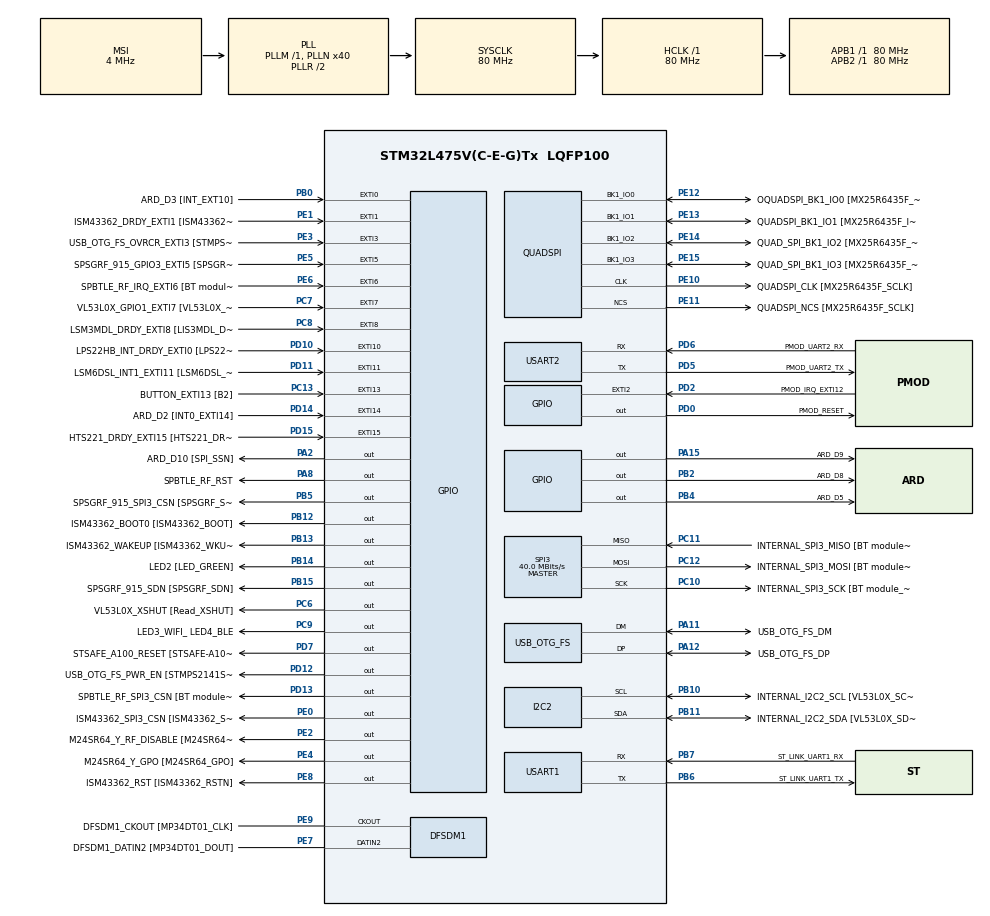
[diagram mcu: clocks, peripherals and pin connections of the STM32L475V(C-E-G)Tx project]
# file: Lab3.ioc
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FREERTOS.Tasks01=defaultTask,24,128,StartDefaultTask,Default,NULL,Dynamic,NULL,NULL
FREERTOS.configUSE_PREEMPTION=1
Mcu.Family=STM32L4
Mcu.Name=STM32L475V(C-E-G)Tx
Mcu.Package=LQFP100
NVIC.EXTI15_10_IRQn=true\:5\:0\:false\:false\:true\:true\:true\:true\:true
NVIC.EXTI9_5_IRQn=true\:5\:0\:false\:false\:true\:true\:true\:true\:true
NVIC.PriorityGroup=NVIC_PRIORITYGROUP_4
NVIC.TIM6_DAC_IRQn=true\:15\:0\:false\:false\:true\:false\:false\:true\:true
NVIC.TimeBase=TIM6_DAC_IRQn
NVIC.TimeBaseIP=TIM6
PA0.GPIO_Label=ARD_D1 [UART4_TX]
PA0.Signal=UART4_TX
PA1.GPIO_Label=ARD_D0 [UART4_RX]
PA1.Signal=UART4_RX
PA10.GPIO_Label=USB_OTG_FS_ID
PA10.Signal=USB_OTG_FS_ID
PA11.GPIO_Label=USB_OTG_FS_DM
PA11.Mode=Device_Only
PA11.Signal=USB_OTG_FS_DM
PA12.GPIO_Label=USB_OTG_FS_DP
PA12.Mode=Device_Only
PA12.Signal=USB_OTG_FS_DP
PA13\ (JTMS-SWDIO).GPIO_Label=SYS_JTMS_SWDIO
PA13\ (JTMS-SWDIO).Mode=Trace_Asynchronous_SW
PA13\ (JTMS-SWDIO).Signal=SYS_JTMS-SWDIO
PA14\ (JTCK-SWCLK).GPIO_Label=SYS_JTCK_SWCLK
PA14\ (JTCK-SWCLK).Mode=Trace_Asynchronous_SW
PA14\ (JTCK-SWCLK).Signal=SYS_JTCK-SWCLK
PA15\ (JTDI).GPIO_Label=ARD_D9
PA15\ (JTDI).Signal=GPIO_Output
PA2.GPIO_Label=ARD_D10 [SPI_SSN]
PA2.Signal=GPIO_Output
PA3.GPIO_Label=ARD_D4
PA3.Signal=S_TIM2_CH4
PA4.GPIO_Label=ARD_D7
PA4.Signal=ADCx_IN9
PA5.GPIO_Label=ARD_D13 [SPI1_SCK]
PA5.Signal=SPI1_SCK
PA6.GPIO_Label=ARD_D12 [SPI1_MISO]
PA6.Signal=SPI1_MISO
PA7.GPIO_Label=ARD_D11 [SPI1_MOSI]
PA7.Signal=SPI1_MOSI
PA8.GPIO_Label=SPBTLE_RF_RST
PA8.Signal=GPIO_Output
PA9.GPIO_Label=USB_OTG_FS_VBUS [STMPS2141STR_OUT]
PA9.Signal=USB_OTG_FS_VBUS
PB0.GPIO_Label=ARD_D3 [INT_EXT10]
PB0.Signal=GPXTI0
PB1.GPIO_Label=ARD_D6 [ADC1_IN6]
PB1.Signal=ADCx_IN16
PB10.GPIO_Label=INTERNAL_I2C2_SCL [VL53L0X_SCL]
PB10.GPIO_Pu=GPIO_PULLUP
PB10.Mode=I2C
PB10.Signal=I2C2_SCL
PB11.GPIO_Label=INTERNAL_I2C2_SDA [VL53L0X_SDA]
PB11.GPIO_Pu=GPIO_PULLUP
PB11.Mode=I2C
PB11.Signal=I2C2_SDA
PB12.GPIO_Label=ISM43362_BOOT0 [ISM43362_BOOT]
PB12.Signal=GPIO_Output
PB13.GPIO_Label=ISM43362_WAKEUP [ISM43362_WKUP]
PB13.Signal=GPIO_Output
PB14.GPIO_Label=LED2 [LED_GREEN]
PB14.Signal=GPIO_Output
PB15.GPIO_Label=SPSGRF_915_SDN [SPSGRF_SDN]
PB15.Signal=GPIO_Output
PB2.GPIO_Label=ARD_D8
PB2.Signal=GPIO_Output
PB3\ (JTDO-TRACESWO).GPIO_Label=SYS_JTD0_SWO
PB3\ (JTDO-TRACESWO).Mode=Trace_Asynchronous_SW
PB3\ (JTDO-TRACESWO).Signal=SYS_JTDO-SWO
PB4\ (NJTRST).GPIO_Label=ARD_D5
PB4\ (NJTRST).Signal=GPIO_Output
PB5.GPIO_Label=SPSGRF_915_SPI3_CSN [SPSGRF_SPI_CS]
PB5.PinState=GPIO_PIN_SET
PB5.Signal=GPIO_Output
PB6.GPIO_Label=ST_LINK_UART1_TX
PB6.Mode=Asynchronous
PB6.Signal=USART1_TX
PB7.GPIO_Label=ST_LINK_UART1_RX
PB7.Mode=Asynchronous
PB7.Signal=USART1_RX
PB8.GPIO_Label=ARD_D15 [I2C1_SCL]
PB8.Signal=I2C1_SCL
PB9.GPIO_Label=ARD_D14 [I2C1_SDA]
PB9.Signal=I2C1_SDA
PC0.GPIO_Label=ARD_A5 [ADC]
PC0.Signal=ADCx_IN1
PC1.GPIO_Label=ARD_A4 [ADC]
PC1.Signal=ADCx_IN2
PC10.GPIO_Label=INTERNAL_SPI3_SCK [BT module_SPI_SCLK] [ISM43362_SCK]
PC10.Mode=Full_Duplex_Master
PC10.Signal=SPI3_SCK
PC11.GPIO_Label=INTERNAL_SPI3_MISO [BT module_SPI_MISO] [ISM43362_MISO]
PC11.Mode=Full_Duplex_Master
PC11.Signal=SPI3_MISO
PC12.GPIO_Label=INTERNAL_SPI3_MOSI [BT module_SPI_MOSI] [ISM43362_MOSI]
PC12.Mode=Full_Duplex_Master
PC12.Signal=SPI3_MOSI
PC13.GPIO_Label=BUTTON_EXTI13 [B2]
PC13.GPIO_ModeDefaultEXTI=GPIO_MODE_IT_FALLING
PC13.Signal=GPXTI13
PC14-OSC32_IN\ (PC14).Mode=LSE-External-Oscillator
PC14-OSC32_IN\ (PC14).Signal=RCC_OSC32_IN
PC15-OSC32_OUT\ (PC15).Mode=LSE-External-Oscillator
PC15-OSC32_OUT\ (PC15).Signal=RCC_OSC32_OUT
PC2.GPIO_Label=ARD_A3 [ADC]
PC2.Signal=ADCx_IN3
PC3.GPIO_Label=ARD_A2 [ADC]
PC3.Signal=ADCx_IN4
PC4.GPIO_Label=ARD_A1 [ADC]
PC4.Signal=ADCx_IN13
PC5.GPIO_Label=ARD_A0 [ADC]
PC5.Signal=ADCx_IN14
PC6.GPIO_Label=VL53L0X_XSHUT [Read_XSHUT]
PC6.Signal=GPIO_Output
PC7.GPIO_Label=VL53L0X_GPIO1_EXTI7 [VL53L0X_GPIO1]
PC7.Signal=GPXTI7
PC8.GPIO_Label=LSM3MDL_DRDY_EXTI8 [LIS3MDL_DRDY]
PC8.Signal=GPXTI8
PC9.GPIO_Label=LED3_WIFI_ LED4_BLE
PC9.Signal=GPIO_Output
PD0.GPIO_Label=PMOD_RESET
PD0.Signal=GPIO_Output
PD1.GPIO_Label=PMOD_SPI2_SCK
PD1.Signal=SPI2_SCK
PD10.GPIO_Label=LPS22HB_INT_DRDY_EXTI0 [LPS22HB_INT_DRDY] 
PD10.Signal=GPXTI10
PD11.GPIO_Label=LSM6DSL_INT1_EXTI11 [LSM6DSL_INT1]
PD11.Signal=GPXTI11
PD12.GPIO_Label=USB_OTG_FS_PWR_EN [STMPS2141STR_EN]
PD12.Signal=GPIO_Output
PD13.GPIO_Label=SPBTLE_RF_SPI3_CSN [BT module_SPI_CS]
PD13.PinState=GPIO_PIN_SET
PD13.Signal=GPIO_Output
PD14.GPIO_Label=ARD_D2 [INT0_EXTI14]
PD14.Signal=GPXTI14
PD15.GPIO_Label=HTS221_DRDY_EXTI15 [HTS221_DRDY]
PD15.Signal=GPXTI15
PD2.GPIO_Label=PMOD_IRQ_EXTI12
PD2.Signal=GPXTI2
PD3.GPIO_Label=PMOD_UART2_CTS
PD3.Signal=USART2_CTS
PD4.GPIO_Label=PMOD_UART2_RTS
PD4.Signal=USART2_RTS
PD5.GPIO_Label=PMOD_UART2_TX
PD5.Mode=Asynchronous
PD5.Signal=USART2_TX
PD6.GPIO_Label=PMOD_UART2_RX
PD6.Mode=Asynchronous
PD6.Signal=USART2_RX
PD7.GPIO_Label=STSAFE_A100_RESET [STSAFE-A100_RESET]
PD7.Signal=GPIO_Output
PD8.GPIO_Label=INTERNAL_UART3_TX [ISM43362_RX]
PD8.Signal=USART3_TX
PD9.GPIO_Label=INTERNAL_UART3_RX [ISM43362_TX]
PD9.Signal=USART3_RX
PE0.GPIO_Label=ISM43362_SPI3_CSN [ISM43362_SSN]
PE0.PinState=GPIO_PIN_SET
PE0.Signal=GPIO_Output
PE1.GPIO_Label=ISM43362_DRDY_EXTI1 [ISM43362_DATARDY]
PE1.Signal=GPXTI1
PE10.GPIO_Label=QUADSPI_CLK [MX25R6435F_SCLK]
PE10.Mode=Single Bank
PE10.Signal=QUADSPI_CLK
PE11.GPIO_Label=QUADSPI_NCS [MX25R6435F_SCLK]
PE11.Mode=Single Bank
PE11.Signal=QUADSPI_NCS
PE12.GPIO_Label=OQUADSPI_BK1_IO0 [MX25R6435F_IO0]
PE12.Mode=Single Bank
PE12.Signal=QUADSPI_BK1_IO0
PE13.GPIO_Label=QUADSPI_BK1_IO1 [MX25R6435F_IO1]
PE13.Mode=Single Bank
PE13.Signal=QUADSPI_BK1_IO1
PE14.GPIO_Label=QUAD_SPI_BK1_IO2 [MX25R6435F_IO2]
PE14.Mode=Single Bank
PE14.Signal=QUADSPI_BK1_IO2
PE15.GPIO_Label=QUAD_SPI_BK1_IO3 [MX25R6435F_IO3]
PE15.Mode=Single Bank
PE15.Signal=QUADSPI_BK1_IO3
PE2.GPIO_Label=M24SR64_Y_RF_DISABLE [M24SR64_RFDIS]
PE2.Signal=GPIO_Output
PE3.GPIO_Label=USB_OTG_FS_OVRCR_EXTI3 [STMPS2141STR_FAULT]
PE3.Signal=GPXTI3
PE4.GPIO_Label=M24SR64_Y_GPO [M24SR64_GPO]
PE4.Signal=GPIO_Output
PE5.GPIO_Label=SPSGRF_915_GPIO3_EXTI5 [SPSGRF_GPIO_3]
PE5.Signal=GPXTI5
PE6.GPIO_Label=SPBTLE_RF_IRQ_EXTI6 [BT module_SPI_IRQ]
PE6.Signal=GPXTI6
PE7.GPIO_Label=DFSDM1_DATIN2 [MP34DT01_DOUT]
PE7.Signal=S_DATAIN2DFSDM1
PE8.GPIO_Label=ISM43362_RST [ISM43362_RSTN]
PE8.Signal=GPIO_Output
PE9.GPIO_Label=DFSDM1_CKOUT [MP34DT01_CLK]
PE9.Signal=S_CKOUTDFSDM1
ProjectManager.HeapSize=0x200
ProjectManager.StackSize=0x400
ProjectManager.TargetToolchain=STM32CubeIDE
QUADSPI.ClockPrescaler=2
QUADSPI.FifoThreshold=4
QUADSPI.FlashSize=23
QUADSPI.SampleShifting=QSPI_SAMPLE_SHIFTING_HALFCYCLE
RCC.ADCFreq_Value=48000000
RCC.AHBFreq_Value=80000000
RCC.APB1Freq_Value=80000000
RCC.APB1TimFreq_Value=80000000
RCC.APB2Freq_Value=80000000
RCC.APB2TimFreq_Value=80000000
RCC.CortexFreq_Value=80000000
RCC.HCLKFreq_Value=80000000
RCC.HSE_VALUE=8000000
RCC.HSI_VALUE=16000000
RCC.MSI_VALUE=4000000
RCC.PLLN=40
RCC.PLLSAI1N=24
RCC.SYSCLKFreq_VALUE=80000000
RCC.SYSCLKSource=RCC_SYSCLKSOURCE_PLLCLK
RCC.USBFreq_Value=48000000
RCC.VCOOutputFreq_Value=160000000
SH.ADCx_IN1.0=ADC1_IN1
SH.ADCx_IN13.0=ADC1_IN13
SH.ADCx_IN14.0=ADC1_IN14
SH.ADCx_IN16.0=ADC1_IN16
SH.ADCx_IN2.0=ADC1_IN2
SH.ADCx_IN3.0=ADC1_IN3
SH.ADCx_IN4.0=ADC1_IN4
SH.ADCx_IN9.0=ADC1_IN9
SH.S_CKOUTDFSDM1.0=DFSDM1_CKOUT,CKOUT
SH.S_CKOUTDFSDM1.1=DFSDM1_CKOUT,PDM_SPI_Input_from_ch12_and_Internal_Clock
SH.S_DATAIN2DFSDM1.0=DFSDM1_DATIN2,PDM_SPI_Input_from_ch12_and_Internal_Clock
SH.S_TIM2_CH4.0=TIM2_CH4
SPI3.CalculateBaudRate=40.0 MBits/s
SPI3.Direction=SPI_DIRECTION_2LINES
SPI3.Mode=SPI_MODE_MASTER
SPI3.VirtualType=VM_MASTER
USART1.VirtualMode-Asynchronous=VM_ASYNC
USART2.VirtualMode-Asynchronous=VM_ASYNC
USB_OTG_FS.VirtualMode=Device_Only
VP_FREERTOS_VS_CMSIS_V2.Mode=CMSIS_V2
VP_SYS_VS_tim6.Mode=TIM6
board=B-L475E-IOT01A1

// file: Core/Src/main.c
/* USER CODE BEGIN Header */
/**
 ******************************************************************************
 * @file           : main.c
 * @brief          : Main program body
 ******************************************************************************
 * @attention
 *
 * Copyright (c) 2024 STMicroelectronics.
 * All rights reserved.
 *
 * This software is licensed under terms that can be found in the LICENSE file
 * in the root directory of this software component.
 * If no LICENSE file comes with this software, it is provided AS-IS.
 *
 ******************************************************************************
 */
/* USER CODE END Header */
#include "main.h"
//#include "cmsis_os.h"
/* USER CODE BEGIN Includes */
#include "FreeRTOS.h"
#include "task.h"
#include "timers.h"
#include "queue.h"
#include "semphr.h"
#include "event_groups.h"
#include <stdio.h>
#include <string.h>
/* USER CODE END Includes */
DFSDM_Channel_HandleTypeDef hdfsdm1_channel1;
I2C_HandleTypeDef hi2c2;
QSPI_HandleTypeDef hqspi;
SPI_HandleTypeDef hspi3;
UART_HandleTypeDef huart1;
UART_HandleTypeDef huart2;
PCD_HandleTypeDef hpcd_USB_OTG_FS;
/* Definitions for defaultTask */
//osThreadId_t defaultTaskHandle;
//const osThreadAttr_t defaultTask_attributes = {
//  .name = "defaultTask",
//  .stack_size = 128 * 4,
//  .priority = (osPriority_t) osPriorityNormal,
//};
/* USER CODE BEGIN PV */
long start1, stop1, start2, stop2,start3,stop3;
TaskHandle_t xHandle1 = NULL;
TaskHandle_t xHandle2 = NULL;
TaskHandle_t xHandle3 = NULL;
char task1_string[50] = "Task 1 New is running.\r\n";
char task2_string[50] = "Task 2 New is running.\r\n";
char task3_string[50] = "Task 3 New is running.\r\n";
/* USER CODE END PV */
void SystemClock_Config(void);
static void MX_GPIO_Init(void);
static void MX_DFSDM1_Init(void);
static void MX_I2C2_Init(void);
static void MX_QUADSPI_Init(void);
static void MX_SPI3_Init(void);
static void MX_USART1_UART_Init(void);
static void MX_USB_OTG_FS_PCD_Init(void);
static void MX_USART2_UART_Init(void);
//void StartDefaultTask(void *argument);
/* USER CODE BEGIN PFP */
void vTaskFunction1(void *pvParameters);
void vTaskFunction2(void *pvParameters);
void vTaskFunction3(void *pvParameters);
/* USER CODE END PFP */
int main(void)
{
 /* MCU Configuration--------------------------------------------------------*/
 /* Reset of all peripherals, Initializes the Flash interface and the Systick. */
 HAL_Init();
 /* Configure the system clock */
 SystemClock_Config();
 /* Initialize all configured peripherals */
 MX_GPIO_Init();
 MX_DFSDM1_Init();
 MX_I2C2_Init();
 MX_QUADSPI_Init();
 MX_SPI3_Init();
 MX_USART1_UART_Init();
 MX_USB_OTG_FS_PCD_Init();
 MX_USART2_UART_Init();
 /* Init scheduler */
 //osKernelInitialize();
 /* Create the thread(s) */
 /* creation of defaultTask */
 //defaultTaskHandle = osThreadNew(StartDefaultTask, NULL, &defaultTask_attributes);
 /* USER CODE BEGIN RTOS_THREADS */
 /* add threads, ... */
 BaseType_t xReturned = xTaskCreate(vTaskFunction1, "Task 1 New", 128,
 NULL, 1, &xHandle1);//green
 if (xReturned != pdPASS)
 ; //add code to handle error
 xReturned = xTaskCreate(vTaskFunction2, "Task 2 New", 128, NULL, 1,
 &xHandle2);//orange
 if (xReturned != pdPASS)
   ;
 xReturned = xTaskCreate(vTaskFunction3, "Task 3 New", 128, NULL, 3,
 &xHandle3);//blue
 if (xReturned != pdPASS)
 ; // add code to handle error
 vTaskStartScheduler(); // start scheduler
 /* USER CODE END RTOS_THREADS */
 /* Start scheduler */
 //osKernelStart();
 /* We should never get here as control is now taken by the scheduler */
 /* Infinite loop */
 while (1)
 {
 }
}
void SystemClock_Config(void)
{
 RCC_OscInitTypeDef RCC_OscInitStruct = {0};
 RCC_ClkInitTypeDef RCC_ClkInitStruct = {0};
 /** Configure the main internal regulator output voltage
 */
 if (HAL_PWREx_ControlVoltageScaling(PWR_REGULATOR_VOLTAGE_SCALE1) != HAL_OK)
 {
   Error_Handler();
 }
 /** Configure LSE Drive Capability
 */
 HAL_PWR_EnableBkUpAccess();
 __HAL_RCC_LSEDRIVE_CONFIG(RCC_LSEDRIVE_LOW);
 /** Initializes the RCC Oscillators according to the specified parameters
 * in the RCC_OscInitTypeDef structure.
 */
 RCC_OscInitStruct.OscillatorType = RCC_OSCILLATORTYPE_LSE|RCC_OSCILLATORTYPE_MSI;
 RCC_OscInitStruct.LSEState = RCC_LSE_ON;
 RCC_OscInitStruct.MSIState = RCC_MSI_ON;
 RCC_OscInitStruct.MSICalibrationValue = 0;
 RCC_OscInitStruct.MSIClockRange = RCC_MSIRANGE_6;
 RCC_OscInitStruct.PLL.PLLState = RCC_PLL_ON;
 RCC_OscInitStruct.PLL.PLLSource = RCC_PLLSOURCE_MSI;
 RCC_OscInitStruct.PLL.PLLM = 1;
 RCC_OscInitStruct.PLL.PLLN = 40;
 RCC_OscInitStruct.PLL.PLLP = RCC_PLLP_DIV7;
 RCC_OscInitStruct.PLL.PLLQ = RCC_PLLQ_DIV2;
 RCC_OscInitStruct.PLL.PLLR = RCC_PLLR_DIV2;
 if (HAL_RCC_OscConfig(&RCC_OscInitStruct) != HAL_OK)
 {
   Error_Handler();
 }
 /** Initializes the CPU, AHB and APB buses clocks
 */
 RCC_ClkInitStruct.ClockType = RCC_CLOCKTYPE_HCLK|RCC_CLOCKTYPE_SYSCLK
                             |RCC_CLOCKTYPE_PCLK1|RCC_CLOCKTYPE_PCLK2;
 RCC_ClkInitStruct.SYSCLKSource = RCC_SYSCLKSOURCE_PLLCLK;
 RCC_ClkInitStruct.AHBCLKDivider = RCC_SYSCLK_DIV1;
 RCC_ClkInitStruct.APB1CLKDivider = RCC_HCLK_DIV1;
 RCC_ClkInitStruct.APB2CLKDivider = RCC_HCLK_DIV1;
 if (HAL_RCC_ClockConfig(&RCC_ClkInitStruct, FLASH_LATENCY_4) != HAL_OK)
 {
   Error_Handler();
 }
 /** Enable MSI Auto calibration
 */
 HAL_RCCEx_EnableMSIPLLMode();
}
static void MX_DFSDM1_Init(void)
{
 hdfsdm1_channel1.Instance = DFSDM1_Channel1;
 hdfsdm1_channel1.Init.OutputClock.Activation = ENABLE;
 hdfsdm1_channel1.Init.OutputClock.Selection = DFSDM_CHANNEL_OUTPUT_CLOCK_SYSTEM;
 hdfsdm1_channel1.Init.OutputClock.Divider = 2;
 hdfsdm1_channel1.Init.Input.Multiplexer = DFSDM_CHANNEL_EXTERNAL_INPUTS;
 hdfsdm1_channel1.Init.Input.DataPacking = DFSDM_CHANNEL_STANDARD_MODE;
 hdfsdm1_channel1.Init.Input.Pins = DFSDM_CHANNEL_FOLLOWING_CHANNEL_PINS;
 hdfsdm1_channel1.Init.SerialInterface.Type = DFSDM_CHANNEL_SPI_RISING;
 hdfsdm1_channel1.Init.SerialInterface.SpiClock = DFSDM_CHANNEL_SPI_CLOCK_INTERNAL;
 hdfsdm1_channel1.Init.Awd.FilterOrder = DFSDM_CHANNEL_FASTSINC_ORDER;
 hdfsdm1_channel1.Init.Awd.Oversampling = 1;
 hdfsdm1_channel1.Init.Offset = 0;
 hdfsdm1_channel1.Init.RightBitShift = 0x00;
 if (HAL_DFSDM_ChannelInit(&hdfsdm1_channel1) != HAL_OK)
 {
   Error_Handler();
 }
}
static void MX_I2C2_Init(void)
{
 hi2c2.Instance = I2C2;
 hi2c2.Init.Timing = 0x00000E14;
 hi2c2.Init.OwnAddress1 = 0;
 hi2c2.Init.AddressingMode = I2C_ADDRESSINGMODE_7BIT;
 hi2c2.Init.DualAddressMode = I2C_DUALADDRESS_DISABLE;
 hi2c2.Init.OwnAddress2 = 0;
 hi2c2.Init.OwnAddress2Masks = I2C_OA2_NOMASK;
 hi2c2.Init.GeneralCallMode = I2C_GENERALCALL_DISABLE;
 hi2c2.Init.NoStretchMode = I2C_NOSTRETCH_DISABLE;
 if (HAL_I2C_Init(&hi2c2) != HAL_OK)
 {
   Error_Handler();
 }
 /** Configure Analogue filter
 */
 if (HAL_I2CEx_ConfigAnalogFilter(&hi2c2, I2C_ANALOGFILTER_ENABLE) != HAL_OK)
 {
   Error_Handler();
 }
 /** Configure Digital filter
 */
 if (HAL_I2CEx_ConfigDigitalFilter(&hi2c2, 0) != HAL_OK)
 {
   Error_Handler();
 }
}
static void MX_QUADSPI_Init(void)
{
 /* QUADSPI parameter configuration*/
 hqspi.Instance = QUADSPI;
 hqspi.Init.ClockPrescaler = 2;
 hqspi.Init.FifoThreshold = 4;
 hqspi.Init.SampleShifting = QSPI_SAMPLE_SHIFTING_HALFCYCLE;
 hqspi.Init.FlashSize = 23;
 hqspi.Init.ChipSelectHighTime = QSPI_CS_HIGH_TIME_1_CYCLE;
 hqspi.Init.ClockMode = QSPI_CLOCK_MODE_0;
 if (HAL_QSPI_Init(&hqspi) != HAL_OK)
 {
   Error_Handler();
 }
}
static void MX_SPI3_Init(void)
{
 /* SPI3 parameter configuration*/
 hspi3.Instance = SPI3;
 hspi3.Init.Mode = SPI_MODE_MASTER;
 hspi3.Init.Direction = SPI_DIRECTION_2LINES;
 hspi3.Init.DataSize = SPI_DATASIZE_4BIT;
 hspi3.Init.CLKPolarity = SPI_POLARITY_LOW;
 hspi3.Init.CLKPhase = SPI_PHASE_1EDGE;
 hspi3.Init.NSS = SPI_NSS_SOFT;
 hspi3.Init.BaudRatePrescaler = SPI_BAUDRATEPRESCALER_2;
 hspi3.Init.FirstBit = SPI_FIRSTBIT_MSB;
 hspi3.Init.TIMode = SPI_TIMODE_DISABLE;
 hspi3.Init.CRCCalculation = SPI_CRCCALCULATION_DISABLE;
 hspi3.Init.CRCPolynomial = 7;
 hspi3.Init.CRCLength = SPI_CRC_LENGTH_DATASIZE;
 hspi3.Init.NSSPMode = SPI_NSS_PULSE_ENABLE;
 if (HAL_SPI_Init(&hspi3) != HAL_OK)
 {
   Error_Handler();
 }
}
static void MX_USART1_UART_Init(void)
{
 huart1.Instance = USART1;
 huart1.Init.BaudRate = 115200;
 huart1.Init.WordLength = UART_WORDLENGTH_8B;
 huart1.Init.StopBits = UART_STOPBITS_1;
 huart1.Init.Parity = UART_PARITY_NONE;
 huart1.Init.Mode = UART_MODE_TX_RX;
 huart1.Init.HwFlowCtl = UART_HWCONTROL_NONE;
 huart1.Init.OverSampling = UART_OVERSAMPLING_16;
 huart1.Init.OneBitSampling = UART_ONE_BIT_SAMPLE_DISABLE;
 huart1.AdvancedInit.AdvFeatureInit = UART_ADVFEATURE_NO_INIT;
 if (HAL_UART_Init(&huart1) != HAL_OK)
 {
   Error_Handler();
 }
}
static void MX_USART2_UART_Init(void)
{
 huart2.Instance = USART2;
 huart2.Init.BaudRate = 115200;
 huart2.Init.WordLength = UART_WORDLENGTH_8B;
 huart2.Init.StopBits = UART_STOPBITS_1;
 huart2.Init.Parity = UART_PARITY_NONE;
 huart2.Init.Mode = UART_MODE_TX_RX;
 huart2.Init.HwFlowCtl = UART_HWCONTROL_NONE;
 huart2.Init.OverSampling = UART_OVERSAMPLING_16;
 huart2.Init.OneBitSampling = UART_ONE_BIT_SAMPLE_DISABLE;
 huart2.AdvancedInit.AdvFeatureInit = UART_ADVFEATURE_NO_INIT;
 if (HAL_UART_Init(&huart2) != HAL_OK)
 {
   Error_Handler();
 }
}
static void MX_USB_OTG_FS_PCD_Init(void)
{
 hpcd_USB_OTG_FS.Instance = USB_OTG_FS;
 hpcd_USB_OTG_FS.Init.dev_endpoints = 6;
 hpcd_USB_OTG_FS.Init.speed = PCD_SPEED_FULL;
 hpcd_USB_OTG_FS.Init.phy_itface = PCD_PHY_EMBEDDED;
 hpcd_USB_OTG_FS.Init.Sof_enable = DISABLE;
 hpcd_USB_OTG_FS.Init.low_power_enable = DISABLE;
 hpcd_USB_OTG_FS.Init.lpm_enable = DISABLE;
 hpcd_USB_OTG_FS.Init.battery_charging_enable = DISABLE;
 hpcd_USB_OTG_FS.Init.use_dedicated_ep1 = DISABLE;
 hpcd_USB_OTG_FS.Init.vbus_sensing_enable = DISABLE;
 if (HAL_PCD_Init(&hpcd_USB_OTG_FS) != HAL_OK)
 {
   Error_Handler();
 }
}
static void MX_GPIO_Init(void)
{
 GPIO_InitTypeDef GPIO_InitStruct = {0};
 /* GPIO Ports Clock Enable */
 __HAL_RCC_GPIOE_CLK_ENABLE();
 __HAL_RCC_GPIOC_CLK_ENABLE();
 __HAL_RCC_GPIOA_CLK_ENABLE();
 __HAL_RCC_GPIOB_CLK_ENABLE();
 __HAL_RCC_GPIOD_CLK_ENABLE();
 /*Configure GPIO pin Output Level */
 HAL_GPIO_WritePin(GPIOE, M24SR64_Y_RF_DISABLE_Pin|M24SR64_Y_GPO_Pin|ISM43362_RST_Pin, GPIO_PIN_RESET);
 /*Configure GPIO pin Output Level */
 HAL_GPIO_WritePin(GPIOA, ARD_D10_Pin|SPBTLE_RF_RST_Pin|ARD_D9_Pin, GPIO_PIN_RESET);
 /*Configure GPIO pin Output Level */
 HAL_GPIO_WritePin(GPIOB, ARD_D8_Pin|ISM43362_BOOT0_Pin|ISM43362_WAKEUP_Pin|LED2_Pin
                         |SPSGRF_915_SDN_Pin|ARD_D5_Pin, GPIO_PIN_RESET);
 /*Configure GPIO pin Output Level */
 HAL_GPIO_WritePin(GPIOD, USB_OTG_FS_PWR_EN_Pin|PMOD_RESET_Pin|STSAFE_A100_RESET_Pin, GPIO_PIN_RESET);
 /*Configure GPIO pin Output Level */
 HAL_GPIO_WritePin(SPBTLE_RF_SPI3_CSN_GPIO_Port, SPBTLE_RF_SPI3_CSN_Pin, GPIO_PIN_SET);
 /*Configure GPIO pin Output Level */
 HAL_GPIO_WritePin(GPIOC, VL53L0X_XSHUT_Pin|LED3_WIFI__LED4_BLE_Pin, GPIO_PIN_RESET);
 /*Configure GPIO pin Output Level */
 HAL_GPIO_WritePin(SPSGRF_915_SPI3_CSN_GPIO_Port, SPSGRF_915_SPI3_CSN_Pin, GPIO_PIN_SET);
 /*Configure GPIO pin Output Level */
 HAL_GPIO_WritePin(ISM43362_SPI3_CSN_GPIO_Port, ISM43362_SPI3_CSN_Pin, GPIO_PIN_SET);
 /*Configure GPIO pins : M24SR64_Y_RF_DISABLE_Pin M24SR64_Y_GPO_Pin ISM43362_RST_Pin ISM43362_SPI3_CSN_Pin */
 GPIO_InitStruct.Pin = M24SR64_Y_RF_DISABLE_Pin|M24SR64_Y_GPO_Pin|ISM43362_RST_Pin|ISM43362_SPI3_CSN_Pin;
 GPIO_InitStruct.Mode = GPIO_MODE_OUTPUT_PP;
 GPIO_InitStruct.Pull = GPIO_NOPULL;
 GPIO_InitStruct.Speed = GPIO_SPEED_FREQ_LOW;
 HAL_GPIO_Init(GPIOE, &GPIO_InitStruct);
 /*Configure GPIO pins : USB_OTG_FS_OVRCR_EXTI3_Pin SPSGRF_915_GPIO3_EXTI5_Pin SPBTLE_RF_IRQ_EXTI6_Pin ISM43362_DRDY_EXTI1_Pin */
 GPIO_InitStruct.Pin = USB_OTG_FS_OVRCR_EXTI3_Pin|SPSGRF_915_GPIO3_EXTI5_Pin|SPBTLE_RF_IRQ_EXTI6_Pin|ISM43362_DRDY_EXTI1_Pin;
 GPIO_InitStruct.Mode = GPIO_MODE_IT_RISING;
 GPIO_InitStruct.Pull = GPIO_NOPULL;
 HAL_GPIO_Init(GPIOE, &GPIO_InitStruct);
 /*Configure GPIO pin : BUTTON_EXTI13_Pin */
 GPIO_InitStruct.Pin = BUTTON_EXTI13_Pin;
 GPIO_InitStruct.Mode = GPIO_MODE_IT_FALLING;
 GPIO_InitStruct.Pull = GPIO_NOPULL;
 HAL_GPIO_Init(BUTTON_EXTI13_GPIO_Port, &GPIO_InitStruct);
 /*Configure GPIO pins : ARD_A5_Pin ARD_A4_Pin ARD_A3_Pin ARD_A2_Pin
                          ARD_A1_Pin ARD_A0_Pin */
 GPIO_InitStruct.Pin = ARD_A5_Pin|ARD_A4_Pin|ARD_A3_Pin|ARD_A2_Pin
                         |ARD_A1_Pin|ARD_A0_Pin;
 GPIO_InitStruct.Mode = GPIO_MODE_ANALOG_ADC_CONTROL;
 GPIO_InitStruct.Pull = GPIO_NOPULL;
 HAL_GPIO_Init(GPIOC, &GPIO_InitStruct);
 /*Configure GPIO pins : ARD_D1_Pin ARD_D0_Pin */
 GPIO_InitStruct.Pin = ARD_D1_Pin|ARD_D0_Pin;
 GPIO_InitStruct.Mode = GPIO_MODE_AF_PP;
 GPIO_InitStruct.Pull = GPIO_NOPULL;
 GPIO_InitStruct.Speed = GPIO_SPEED_FREQ_VERY_HIGH;
 GPIO_InitStruct.Alternate = GPIO_AF8_UART4;
 HAL_GPIO_Init(GPIOA, &GPIO_InitStruct);
 /*Configure GPIO pins : ARD_D10_Pin SPBTLE_RF_RST_Pin ARD_D9_Pin */
 GPIO_InitStruct.Pin = ARD_D10_Pin|SPBTLE_RF_RST_Pin|ARD_D9_Pin;
 GPIO_InitStruct.Mode = GPIO_MODE_OUTPUT_PP;
 GPIO_InitStruct.Pull = GPIO_NOPULL;
 GPIO_InitStruct.Speed = GPIO_SPEED_FREQ_LOW;
 HAL_GPIO_Init(GPIOA, &GPIO_InitStruct);
 /*Configure GPIO pin : ARD_D4_Pin */
 GPIO_InitStruct.Pin = ARD_D4_Pin;
 GPIO_InitStruct.Mode = GPIO_MODE_AF_PP;
 GPIO_InitStruct.Pull = GPIO_NOPULL;
 GPIO_InitStruct.Speed = GPIO_SPEED_FREQ_LOW;
 GPIO_InitStruct.Alternate = GPIO_AF1_TIM2;
 HAL_GPIO_Init(ARD_D4_GPIO_Port, &GPIO_InitStruct);
 /*Configure GPIO pin : ARD_D7_Pin */
 GPIO_InitStruct.Pin = ARD_D7_Pin;
 GPIO_InitStruct.Mode = GPIO_MODE_ANALOG_ADC_CONTROL;
 GPIO_InitStruct.Pull = GPIO_NOPULL;
 HAL_GPIO_Init(ARD_D7_GPIO_Port, &GPIO_InitStruct);
 /*Configure GPIO pins : ARD_D13_Pin ARD_D12_Pin ARD_D11_Pin */
 GPIO_InitStruct.Pin = ARD_D13_Pin|ARD_D12_Pin|ARD_D11_Pin;
 GPIO_InitStruct.Mode = GPIO_MODE_AF_PP;
 GPIO_InitStruct.Pull = GPIO_NOPULL;
 GPIO_InitStruct.Speed = GPIO_SPEED_FREQ_VERY_HIGH;
 GPIO_InitStruct.Alternate = GPIO_AF5_SPI1;
 HAL_GPIO_Init(GPIOA, &GPIO_InitStruct);
 /*Configure GPIO pin : ARD_D3_Pin */
 GPIO_InitStruct.Pin = ARD_D3_Pin;
 GPIO_InitStruct.Mode = GPIO_MODE_IT_RISING;
 GPIO_InitStruct.Pull = GPIO_NOPULL;
 HAL_GPIO_Init(ARD_D3_GPIO_Port, &GPIO_InitStruct);
 /*Configure GPIO pin : ARD_D6_Pin */
 GPIO_InitStruct.Pin = ARD_D6_Pin;
 GPIO_InitStruct.Mode = GPIO_MODE_ANALOG_ADC_CONTROL;
 GPIO_InitStruct.Pull = GPIO_NOPULL;
 HAL_GPIO_Init(ARD_D6_GPIO_Port, &GPIO_InitStruct);
 /*Configure GPIO pins : ARD_D8_Pin ISM43362_BOOT0_Pin ISM43362_WAKEUP_Pin LED2_Pin
                          SPSGRF_915_SDN_Pin ARD_D5_Pin SPSGRF_915_SPI3_CSN_Pin */
 GPIO_InitStruct.Pin = ARD_D8_Pin|ISM43362_BOOT0_Pin|ISM43362_WAKEUP_Pin|LED2_Pin
                         |SPSGRF_915_SDN_Pin|ARD_D5_Pin|SPSGRF_915_SPI3_CSN_Pin;
 GPIO_InitStruct.Mode = GPIO_MODE_OUTPUT_PP;
 GPIO_InitStruct.Pull = GPIO_NOPULL;
 GPIO_InitStruct.Speed = GPIO_SPEED_FREQ_LOW;
 HAL_GPIO_Init(GPIOB, &GPIO_InitStruct);
 /*Configure GPIO pins : INTERNAL_UART3_TX_Pin INTERNAL_UART3_RX_Pin */
 GPIO_InitStruct.Pin = INTERNAL_UART3_TX_Pin|INTERNAL_UART3_RX_Pin;
 GPIO_InitStruct.Mode = GPIO_MODE_AF_PP;
 GPIO_InitStruct.Pull = GPIO_NOPULL;
 GPIO_InitStruct.Speed = GPIO_SPEED_FREQ_VERY_HIGH;
 GPIO_InitStruct.Alternate = GPIO_AF7_USART3;
 HAL_GPIO_Init(GPIOD, &GPIO_InitStruct);
 /*Configure GPIO pins : LPS22HB_INT_DRDY_EXTI0_Pin LSM6DSL_INT1_EXTI11_Pin ARD_D2_Pin HTS221_DRDY_EXTI15_Pin
                          PMOD_IRQ_EXTI12_Pin */
 GPIO_InitStruct.Pin = LPS22HB_INT_DRDY_EXTI0_Pin|LSM6DSL_INT1_EXTI11_Pin|ARD_D2_Pin|HTS221_DRDY_EXTI15_Pin
                         |PMOD_IRQ_EXTI12_Pin;
 GPIO_InitStruct.Mode = GPIO_MODE_IT_RISING;
 GPIO_InitStruct.Pull = GPIO_NOPULL;
 HAL_GPIO_Init(GPIOD, &GPIO_InitStruct);
 /*Configure GPIO pins : USB_OTG_FS_PWR_EN_Pin SPBTLE_RF_SPI3_CSN_Pin PMOD_RESET_Pin STSAFE_A100_RESET_Pin */
 GPIO_InitStruct.Pin = USB_OTG_FS_PWR_EN_Pin|SPBTLE_RF_SPI3_CSN_Pin|PMOD_RESET_Pin|STSAFE_A100_RESET_Pin;
 GPIO_InitStruct.Mode = GPIO_MODE_OUTPUT_PP;
 GPIO_InitStruct.Pull = GPIO_NOPULL;
 GPIO_InitStruct.Speed = GPIO_SPEED_FREQ_LOW;
 HAL_GPIO_Init(GPIOD, &GPIO_InitStruct);
 /*Configure GPIO pins : VL53L0X_XSHUT_Pin LED3_WIFI__LED4_BLE_Pin */
 GPIO_InitStruct.Pin = VL53L0X_XSHUT_Pin|LED3_WIFI__LED4_BLE_Pin;
 GPIO_InitStruct.Mode = GPIO_MODE_OUTPUT_PP;
 GPIO_InitStruct.Pull = GPIO_NOPULL;
 GPIO_InitStruct.Speed = GPIO_SPEED_FREQ_LOW;
 HAL_GPIO_Init(GPIOC, &GPIO_InitStruct);
 /*Configure GPIO pins : VL53L0X_GPIO1_EXTI7_Pin LSM3MDL_DRDY_EXTI8_Pin */
 GPIO_InitStruct.Pin = VL53L0X_GPIO1_EXTI7_Pin|LSM3MDL_DRDY_EXTI8_Pin;
 GPIO_InitStruct.Mode = GPIO_MODE_IT_RISING;
 GPIO_InitStruct.Pull = GPIO_NOPULL;
 HAL_GPIO_Init(GPIOC, &GPIO_InitStruct);
 /*Configure GPIO pin : PMOD_SPI2_SCK_Pin */
 GPIO_InitStruct.Pin = PMOD_SPI2_SCK_Pin;
 GPIO_InitStruct.Mode = GPIO_MODE_AF_PP;
 GPIO_InitStruct.Pull = GPIO_NOPULL;
 GPIO_InitStruct.Speed = GPIO_SPEED_FREQ_VERY_HIGH;
 GPIO_InitStruct.Alternate = GPIO_AF5_SPI2;
 HAL_GPIO_Init(PMOD_SPI2_SCK_GPIO_Port, &GPIO_InitStruct);
 /*Configure GPIO pins : ARD_D15_Pin ARD_D14_Pin */
 GPIO_InitStruct.Pin = ARD_D15_Pin|ARD_D14_Pin;
 GPIO_InitStruct.Mode = GPIO_MODE_AF_OD;
 GPIO_InitStruct.Pull = GPIO_NOPULL;
 GPIO_InitStruct.Speed = GPIO_SPEED_FREQ_VERY_HIGH;
 GPIO_InitStruct.Alternate = GPIO_AF4_I2C1;
 HAL_GPIO_Init(GPIOB, &GPIO_InitStruct);
 /* EXTI interrupt init*/
 HAL_NVIC_SetPriority(EXTI9_5_IRQn, 5, 0);
 HAL_NVIC_EnableIRQ(EXTI9_5_IRQn);
 HAL_NVIC_SetPriority(EXTI15_10_IRQn, 5, 0);
 HAL_NVIC_EnableIRQ(EXTI15_10_IRQn);
}
/* USER CODE BEGIN 4 */
void vTaskFunction1(void *pvParameters) {
for (;;) {
// Task code here
start1 = xTaskGetTickCount();
HAL_GPIO_TogglePin (GPIOB, GPIO_PIN_14);
HAL_Delay(250);
stop1 = xTaskGetTickCount() - start1;
//taskYIELD();
//vTaskDelay(250);
}
vTaskDelete(NULL);
}
void vTaskFunction2(void *pvParameters) {
for (;;) {
// Task code here
start2 = xTaskGetTickCount();
HAL_GPIO_TogglePin (GPIOE, GPIO_PIN_3);
HAL_Delay(500);
stop2 = xTaskGetTickCount() - start2;
//taskYIELD();
//vTaskDelay(500);
}
vTaskDelete(NULL);
}
void vTaskFunction3(void *pvParameters) {
	for (;;) {
	// Task code here
		start3 = xTaskGetTickCount();
		HAL_GPIO_TogglePin (LED3_WIFI__LED4_BLE_GPIO_Port, LED3_WIFI__LED4_BLE_Pin);
		HAL_Delay(1000);
		stop3 = xTaskGetTickCount() - start3;
		//taskYIELD();
	//	vTaskDelay(1000);
	}
	vTaskDelete(NULL);
}
/* USER CODE END 4 */
void StartDefaultTask(void *argument)
{
 /* USER CODE BEGIN 5 */
//  /* Infinite loop */
//  for(;;)
//  {
//    osDelay(1);
//  }
 /* USER CODE END 5 */
}
void HAL_TIM_PeriodElapsedCallback(TIM_HandleTypeDef *htim)
{
 if (htim->Instance == TIM6) {
   HAL_IncTick();
 }
}
void Error_Handler(void)
{
 __disable_irq();
 while (1)
 {
 }
}
